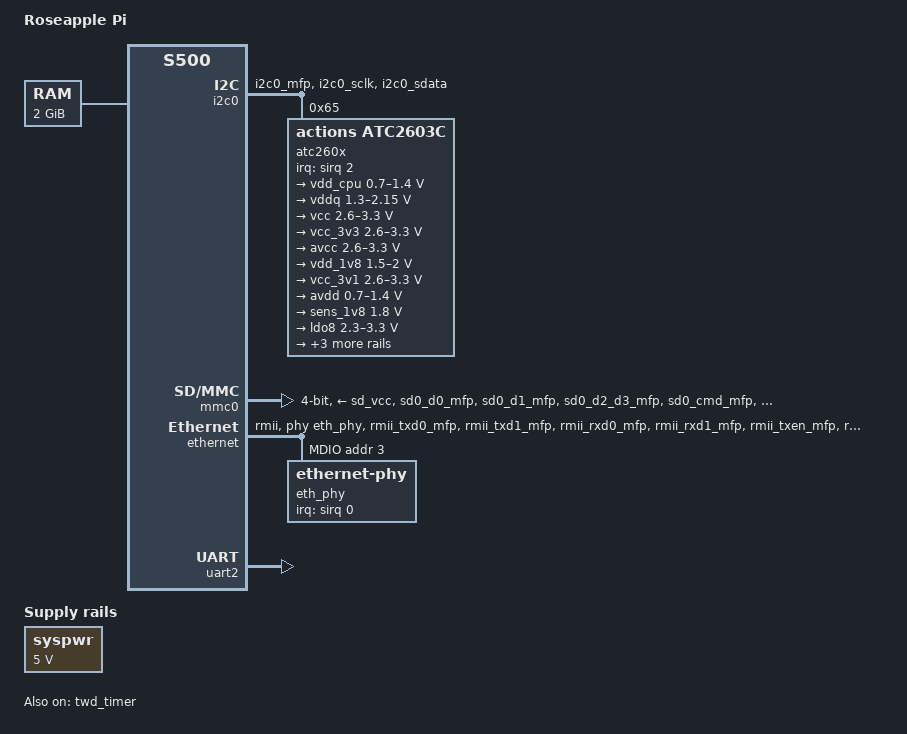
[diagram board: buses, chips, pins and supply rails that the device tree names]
// SPDX-License-Identifier: (GPL-2.0+ OR MIT)
/*
 * Roseapple Pi
 *
 * Copyright (C) 2020-2021 Cristian Ciocaltea <cristian.ciocaltea@gmail.com>
 */

/dts-v1/;

#include "owl-s500.dtsi"

/ {
	compatible = "roseapplepi,roseapplepi", "actions,s500";
	model = "Roseapple Pi";

	aliases {
		mmc0 = &mmc0;
		serial2 = &uart2;
	};

	chosen {
		stdout-path = "serial2:115200n8";
	};

	memory@0 {
		device_type = "memory";
		reg = <0x0 0x80000000>; /* 2GB */
	};

	syspwr: regulator-5v0 {
		compatible = "regulator-fixed";
		regulator-name = "SYSPWR";
		regulator-min-microvolt = <5000000>;
		regulator-max-microvolt = <5000000>;
		regulator-always-on;
	};
};

&cpu0 {
	cpu0-supply = <&vdd_cpu>;
};

&i2c0 {
	status = "okay";
	pinctrl-names = "default";
	pinctrl-0 = <&i2c0_pins>;

	atc260x: pmic@65 {
		compatible = "actions,atc2603c";
		reg = <0x65>;
		interrupt-parent = <&sirq>;
		interrupts = <2 IRQ_TYPE_LEVEL_HIGH>;

		reset-time-sec = <6>;

		regulators {
			compatible = "actions,atc2603c-regulator";

			dcdc1-supply = <&syspwr>;
			dcdc2-supply = <&syspwr>;
			dcdc3-supply = <&syspwr>;
			ldo1-supply = <&syspwr>;
			ldo2-supply = <&syspwr>;
			ldo3-supply = <&syspwr>;
			ldo5-supply = <&syspwr>;
			ldo6-supply = <&syspwr>;
			ldo7-supply = <&syspwr>;
			ldo8-supply = <&syspwr>;
			ldo11-supply = <&syspwr>;
			ldo12-supply = <&syspwr>;
			switchldo1-supply = <&vcc>;

			vdd_cpu: dcdc1 {
				regulator-name = "VDD_CPU";
				regulator-min-microvolt = <700000>;
				regulator-max-microvolt = <1400000>;
				regulator-always-on;
			};

			vddq: dcdc2 {
				regulator-name = "VDDQ";
				regulator-min-microvolt = <1300000>;
				regulator-max-microvolt = <2150000>;
				regulator-always-on;
				regulator-boot-on;
			};

			vcc: dcdc3 {
				regulator-name = "VCC";
				regulator-min-microvolt = <2600000>;
				regulator-max-microvolt = <3300000>;
				regulator-always-on;
			};

			vcc_3v3: ldo1 {
				regulator-name = "VCC_3V3";
				regulator-min-microvolt = <2600000>;
				regulator-max-microvolt = <3300000>;
				regulator-always-on;
			};

			avcc: ldo2 {
				regulator-name = "AVCC";
				regulator-min-microvolt = <2600000>;
				regulator-max-microvolt = <3300000>;
				regulator-always-on;
			};

			vdd_1v8: ldo3 {
				regulator-name = "VDD_1V8";
				regulator-min-microvolt = <1500000>;
				regulator-max-microvolt = <2000000>;
				regulator-always-on;
			};

			vcc_3v1: ldo5 {
				regulator-name = "VCC_3V1";
				regulator-min-microvolt = <2600000>;
				regulator-max-microvolt = <3300000>;
			};

			avdd: ldo6 {
				regulator-name = "AVDD";
				regulator-min-microvolt = <700000>;
				regulator-max-microvolt = <1400000>;
				regulator-always-on;
			};

			sens_1v8: ldo7 {
				regulator-name = "SENS_1V8";
				regulator-min-microvolt = <1800000>;
				regulator-max-microvolt = <1800000>;
			};

			ldo8: ldo8 {
				regulator-name = "LDO8";
				regulator-min-microvolt = <2300000>;
				regulator-max-microvolt = <3300000>;
			};

			svcc: ldo11 {
				regulator-name = "SVCC";
				regulator-min-microvolt = <2600000>;
				regulator-max-microvolt = <3300000>;
				regulator-always-on;
			};

			rtc_vdd: ldo12 {
				regulator-name = "RTC_VDD";
				regulator-min-microvolt = <1800000>;
				regulator-max-microvolt = <1800000>;
				regulator-always-on;
			};

			sd_vcc: switchldo1 {
				regulator-name = "SD_VCC";
				regulator-min-microvolt = <3000000>;
				regulator-max-microvolt = <3300000>;
				regulator-always-on;
				regulator-boot-on;
			};
		};
	};
};

&i2c1 {
	status = "disabled";
	pinctrl-names = "default";
	pinctrl-0 = <&i2c1_pins>;
};

&i2c2 {
	status = "disabled";
	pinctrl-names = "default";
	pinctrl-0 = <&i2c2_pins>;
};

&pinctrl {
	i2c0_pins: i2c0-pins {
		pinmux {
			groups = "i2c0_mfp";
			function = "i2c0";
		};

		pinconf {
			pins = "i2c0_sclk", "i2c0_sdata";
			bias-pull-up;
		};
	};

	i2c1_pins: i2c1-pins {
		pinconf {
			pins = "i2c1_sclk", "i2c1_sdata";
			bias-pull-up;
		};
	};

	i2c2_pins: i2c2-pins {
		pinconf {
			pins = "i2c2_sclk", "i2c2_sdata";
			bias-pull-up;
		};
	};

	mmc0_pins: mmc0-pins {
		pinmux {
			groups = "sd0_d0_mfp", "sd0_d1_mfp", "sd0_d2_d3_mfp",
				 "sd0_cmd_mfp", "sd0_clk_mfp";
			function = "sd0";
		};

		drv-pinconf {
			groups = "sd0_d0_d3_drv", "sd0_cmd_drv", "sd0_clk_drv";
			drive-strength = <8>;
		};

		bias0-pinconf {
			pins = "sd0_d0", "sd0_d1", "sd0_d2",
			       "sd0_d3", "sd0_cmd";
			bias-pull-up;
		};

		bias1-pinconf {
			pins = "sd0_clk";
			bias-pull-down;
		};
	};

	ethernet_pins: ethernet-pins {
		eth_rmii-pinmux {
			groups = "rmii_txd0_mfp", "rmii_txd1_mfp",
				 "rmii_rxd0_mfp", "rmii_rxd1_mfp",
				 "rmii_txen_mfp", "rmii_rxen_mfp",
				 "rmii_crs_dv_mfp", "rmii_ref_clk_mfp";
			function = "eth_rmii";
		};

		phy_clk-pinmux {
			groups = "clko_25m_mfp";
			function = "clko_25m";
		};

		ref_clk-pinconf {
			groups = "rmii_ref_clk_drv";
			drive-strength = <2>;
		};

	};
};

/* uSD */
&mmc0 {
	status = "okay";
	pinctrl-names = "default";
	pinctrl-0 = <&mmc0_pins>;
	no-sdio;
	no-mmc;
	no-1-8-v;
	cd-gpios = <&pinctrl 117 GPIO_ACTIVE_LOW>;
	bus-width = <4>;
	vmmc-supply = <&sd_vcc>;
	vqmmc-supply = <&sd_vcc>;
};

&ethernet {
	pinctrl-names = "default";
	pinctrl-0 = <&ethernet_pins>;
	phy-mode = "rmii";
	phy-handle = <&eth_phy>;
	status = "okay";

	mdio {
		#address-cells = <1>;
		#size-cells = <0>;

		reset-gpios = <&pinctrl 88 GPIO_ACTIVE_LOW>; /* GPIOC24 */
		reset-delay-us = <10000>;
		reset-post-delay-us = <150000>;

		eth_phy: ethernet-phy@3 {
			reg = <0x3>;
			max-speed = <100>;
			interrupt-parent = <&sirq>;
			interrupts = <0 IRQ_TYPE_LEVEL_LOW>;
		};
	};
};

&twd_timer {
	status = "okay";
};

&timer {
	clocks = <&hosc>;
};

&uart2 {
	status = "okay";
};
